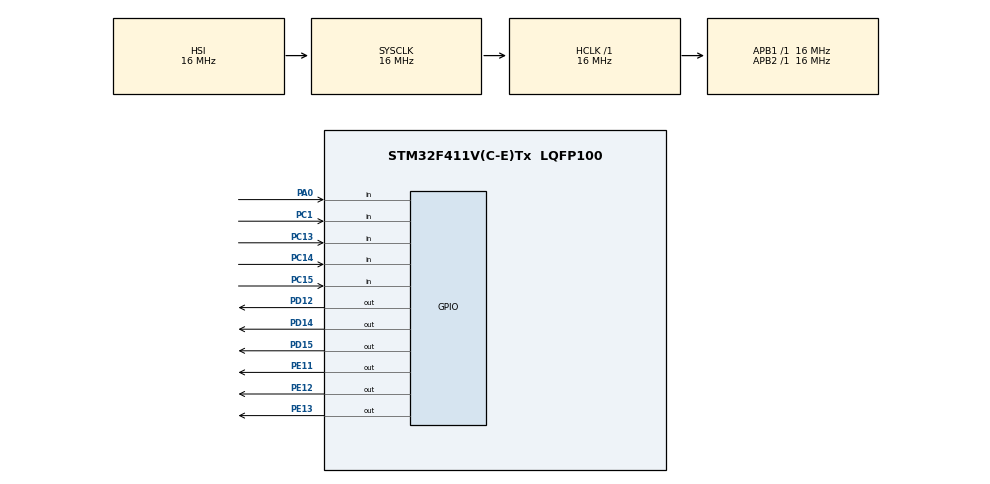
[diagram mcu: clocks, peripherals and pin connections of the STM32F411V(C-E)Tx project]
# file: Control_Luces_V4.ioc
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Mcu.Family=STM32F4
Mcu.Name=STM32F411V(C-E)Tx
Mcu.Package=LQFP100
NVIC.PriorityGroup=NVIC_PRIORITYGROUP_4
NVIC.TIM2_IRQn=true\:0\:0\:false\:true\:true\:1\:true
NVIC.TIM3_IRQn=true\:0\:0\:false\:true\:true\:2\:true
PA0-WKUP.Signal=GPIO_Input
PC1.Signal=GPIO_Input
PC13-ANTI_TAMP.Signal=GPIO_Input
PC14-OSC32_IN.Signal=GPIO_Input
PC15-OSC32_OUT.Signal=GPIO_Input
PD12.Signal=GPIO_Output
PD14.Signal=GPIO_Output
PD15.Signal=GPIO_Output
PE11.Signal=GPIO_Output
PE12.Signal=GPIO_Output
PE13.Signal=GPIO_Output
ProjectManager.HeapSize=0x200
ProjectManager.StackSize=0x400
ProjectManager.TargetToolchain=MDK-ARM V5
RCC.AHBFreq_Value=16000000
RCC.APB1Freq_Value=16000000
RCC.APB2Freq_Value=16000000
RCC.CortexFreq_Value=16000000
RCC.HSE_VALUE=25000000
RCC.HSI_VALUE=16000000
RCC.LSE_VALUE=32768
RCC.SYSCLKFreq_VALUE=16000000
RCC.VCOOutputFreq_Value=192000000
TIM2.Period=500
TIM2.Prescaler=9999
TIM3.Period=4800
TIM3.Prescaler=35999
VP_TIM2_VS_ClockSourceINT.Mode=Internal
VP_TIM3_VS_ClockSourceINT.Mode=Internal
board=custom

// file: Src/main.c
/* USER CODE BEGIN Header */
/**
  ******************************************************************************
  * @file           : main.c
  * @brief          : Main program body
  ******************************************************************************
  ** This notice applies to any and all portions of this file
  * that are not between comment pairs USER CODE BEGIN and
  * USER CODE END. Other portions of this file, whether
  * inserted by the user or by software development tools
  * are owned by their respective copyright owners.
  *
  * COPYRIGHT(c) 2018 STMicroelectronics
  *
  * Redistribution and use in source and binary forms, with or without modification,
  * are permitted provided that the following conditions are met:
  *   1. Redistributions of source code must retain the above copyright notice,
  *      this list of conditions and the following disclaimer.
  *   2. Redistributions in binary form must reproduce the above copyright notice,
  *      this list of conditions and the following disclaimer in the documentation
  *      and/or other materials provided with the distribution.
  *   3. Neither the name of STMicroelectronics nor the names of its contributors
  *      may be used to endorse or promote products derived from this software
  *      without specific prior written permission.
  *
  * THIS SOFTWARE IS PROVIDED BY THE COPYRIGHT HOLDERS AND CONTRIBUTORS "AS IS"
  * AND ANY EXPRESS OR IMPLIED WARRANTIES, INCLUDING, BUT NOT LIMITED TO, THE
  * IMPLIED WARRANTIES OF MERCHANTABILITY AND FITNESS FOR A PARTICULAR PURPOSE ARE
  * DISCLAIMED. IN NO EVENT SHALL THE COPYRIGHT HOLDER OR CONTRIBUTORS BE LIABLE
  * FOR ANY DIRECT, INDIRECT, INCIDENTAL, SPECIAL, EXEMPLARY, OR CONSEQUENTIAL
  * DAMAGES (INCLUDING, BUT NOT LIMITED TO, PROCUREMENT OF SUBSTITUTE GOODS OR
  * SERVICES; LOSS OF USE, DATA, OR PROFITS; OR BUSINESS INTERRUPTION) HOWEVER
  * CAUSED AND ON ANY THEORY OF LIABILITY, WHETHER IN CONTRACT, STRICT LIABILITY,
  * OR TORT (INCLUDING NEGLIGENCE OR OTHERWISE) ARISING IN ANY WAY OUT OF THE USE
  * OF THIS SOFTWARE, EVEN IF ADVISED OF THE POSSIBILITY OF SUCH DAMAGE.
  *
  ******************************************************************************
  */
/* USER CODE END Header */

#include "main.h"

/* USER CODE BEGIN PD */
#define REF_Debounce 300
#define REF_Debounce_2 200
/* USER CODE END PD */

TIM_HandleTypeDef htim2;
TIM_HandleTypeDef htim3;

/* USER CODE BEGIN PV */
//Para modos de funcionamiento
volatile int EnEspera_Funcionando = 0;
volatile int user_mode = 0;

//Para el debounce
extern uint32_t last_time;
extern uint32_t counter_ms;

//Para estado de los pulsadores
int boton_pulsado_modo = 0;
int boton_pulsado_azul = 0;
int boton_pulsado_L1 = 0;
int boton_pulsado_L2 = 0;
int boton_pulsado_L3 = 0;

//Para marcar en que momento de la secuencia de user_mode = 1 se encuentra
volatile int paso = 0;
/* USER CODE END PV */

void SystemClock_Config(void);
static void MX_GPIO_Init(void);
static void MX_TIM2_Init(void);
static void MX_TIM3_Init(void);
static void MX_NVIC_Init(void);

/* USER CODE BEGIN PFP */
void ConfigureSysTick(void);
uint32_t millis(void);
/* USER CODE END PFP */

int main(void)
{

  /* MCU Configuration--------------------------------------------------------*/

  /* Reset of all peripherals, Initializes the Flash interface and the Systick. */
  HAL_Init();

  /* Configure the system clock */
  SystemClock_Config();

  /* Initialize all configured peripherals */
  MX_GPIO_Init();
  MX_TIM2_Init();
  MX_TIM3_Init();

  /* Initialize interrupts */
  MX_NVIC_Init();
  /* USER CODE BEGIN 2 */

	//InicializaciСn de timers
	SysTick_Config(SystemCoreClock/1000); //Para interrupciones cada 1ms
	HAL_TIM_Base_Start_IT(&htim2);
	HAL_TIM_Base_Start_IT(&htim3);
	NVIC_DisableIRQ(TIM3_IRQn);

	//InicializaciСn de variables
	user_mode = 0;
	EnEspera_Funcionando = 0;
	boton_pulsado_modo = 0;
	boton_pulsado_azul = 0;
  boton_pulsado_L1 = 0;
  boton_pulsado_L2 = 0;
  boton_pulsado_L3 = 0;
	paso = 0;

  /* USER CODE END 2 */

  /* Infinite loop */
  while (1)
  {

    /* USER CODE BEGIN 3 */
		if (HAL_GPIO_ReadPin(GPIOA, GPIO_PIN_0) == 1 && boton_pulsado_azul == 0){
			last_time = millis(); //Guarda el valor de millis()
			boton_pulsado_azul = 1;
		}

		if ((HAL_GPIO_ReadPin(GPIOA, GPIO_PIN_0) == 0) && (millis() - last_time) > REF_Debounce && (boton_pulsado_azul == 1)){

			boton_pulsado_azul = 0;

			if (EnEspera_Funcionando == 0){
				HAL_GPIO_WritePin(GPIOE, GPIO_PIN_11, GPIO_PIN_RESET);
				HAL_GPIO_WritePin(GPIOE, GPIO_PIN_12, GPIO_PIN_RESET);
				HAL_GPIO_WritePin(GPIOE, GPIO_PIN_13, GPIO_PIN_RESET);
				EnEspera_Funcionando = 1;
			}

			else if(EnEspera_Funcionando == 1){
				HAL_GPIO_WritePin(GPIOE, GPIO_PIN_11, GPIO_PIN_RESET);
				HAL_GPIO_WritePin(GPIOE, GPIO_PIN_12, GPIO_PIN_RESET);
				HAL_GPIO_WritePin(GPIOE, GPIO_PIN_13, GPIO_PIN_RESET);
				EnEspera_Funcionando = 0;
			}
		}

		if (EnEspera_Funcionando == 0){

			HAL_GPIO_WritePin(GPIOD, GPIO_PIN_14, GPIO_PIN_RESET); //Led rojo se apaga

			//Se pulsa el boton de cambio de modo
			if ((HAL_GPIO_ReadPin(GPIOC, GPIO_PIN_1) == 0) && boton_pulsado_modo == 0){
					last_time = millis(); //Guarda el valor de millis()
					boton_pulsado_modo = 1;
			}

			//Se confirma que se ha pulsado y cambia a modo automАtico
			if((HAL_GPIO_ReadPin(GPIOC, GPIO_PIN_1) == 0) && (millis() - last_time) > REF_Debounce_2 && (boton_pulsado_L1 == 1) && user_mode == 0){
					NVIC_EnableIRQ(TIM3_IRQn);
					HAL_GPIO_WritePin (GPIOD, GPIO_PIN_12, GPIO_PIN_SET); //Led verde encendido
					HAL_GPIO_WritePin(GPIOE, GPIO_PIN_11, GPIO_PIN_RESET);
					HAL_GPIO_WritePin(GPIOE, GPIO_PIN_12, GPIO_PIN_RESET);
					HAL_GPIO_WritePin(GPIOE, GPIO_PIN_13, GPIO_PIN_RESET);
					user_mode = 1;
			}

			//Se confirma que se ha pulsado y cambia a modo manual
			else if((HAL_GPIO_ReadPin(GPIOC, GPIO_PIN_1) == 0) && (millis() - last_time) > REF_Debounce_2 && (boton_pulsado_L1 == 1) && user_mode == 1){
					NVIC_DisableIRQ(TIM3_IRQn);
					HAL_GPIO_WritePin(GPIOE, GPIO_PIN_11, GPIO_PIN_RESET);
					HAL_GPIO_WritePin(GPIOE, GPIO_PIN_12, GPIO_PIN_RESET);
					HAL_GPIO_WritePin(GPIOE, GPIO_PIN_13, GPIO_PIN_RESET);
					user_mode = 0;
			}

			//Usuario en modo manual
			if (user_mode == 0){

				HAL_GPIO_WritePin (GPIOD, GPIO_PIN_12, GPIO_PIN_RESET); //Led verde apagado

				//Si se pulsa el primer pulsador...
				if (HAL_GPIO_ReadPin(GPIOC, GPIO_PIN_15) == 0 && boton_pulsado_L1 == 0){
					last_time = millis(); //Guarda el valor de millis()
					boton_pulsado_L1 = 1;
				}

				if ((HAL_GPIO_ReadPin(GPIOC, GPIO_PIN_15) == 0) && (millis() - last_time) > REF_Debounce && (boton_pulsado_L1 == 1)){
						HAL_GPIO_TogglePin(GPIOE, GPIO_PIN_11);
						boton_pulsado_L1 = 0;
				}

				//Si se pulsa el segundo pulsador...
				if (HAL_GPIO_ReadPin(GPIOC, GPIO_PIN_14) == 0 && boton_pulsado_L2 == 0){
					last_time = millis(); //Guarda el valor de millis()
					boton_pulsado_L2 = 1;
				}

				if ((HAL_GPIO_ReadPin(GPIOC, GPIO_PIN_14) == 0) && (millis() - last_time) > REF_Debounce && (boton_pulsado_L1 == 1)){
						HAL_GPIO_TogglePin(GPIOE, GPIO_PIN_12);
						boton_pulsado_L2 = 0;
				}

				//Si se pulsa el tercer pulsador...
				if (HAL_GPIO_ReadPin(GPIOC, GPIO_PIN_13) == 0 && boton_pulsado_L3 == 0){
					last_time = millis(); //Guarda el valor de millis()
					boton_pulsado_L3 = 1;
				}

				if ((HAL_GPIO_ReadPin(GPIOC, GPIO_PIN_13) == 0) && (millis() - last_time) > REF_Debounce && (boton_pulsado_L3 == 1)){
						HAL_GPIO_TogglePin(GPIOE, GPIO_PIN_13);
						boton_pulsado_L3 = 0;
				}
			}
		}

		else if (EnEspera_Funcionando == 1){ //Modo standby
			HAL_GPIO_WritePin(GPIOD, GPIO_PIN_14, GPIO_PIN_SET); //Led rojo
			HAL_GPIO_WritePin (GPIOD, GPIO_PIN_12, GPIO_PIN_RESET); //Led verde
			HAL_GPIO_TogglePin(GPIOE, GPIO_PIN_11);
			HAL_GPIO_TogglePin(GPIOE, GPIO_PIN_12);
			HAL_GPIO_TogglePin(GPIOE, GPIO_PIN_13);
			HAL_Delay(200);
		}
  }
  /* USER CODE END 3 */
}

void SystemClock_Config(void)
{
  RCC_OscInitTypeDef RCC_OscInitStruct = {0};
  RCC_ClkInitTypeDef RCC_ClkInitStruct = {0};

  /**Configure the main internal regulator output voltage
  */
  __HAL_RCC_PWR_CLK_ENABLE();
  __HAL_PWR_VOLTAGESCALING_CONFIG(PWR_REGULATOR_VOLTAGE_SCALE1);
  /**Initializes the CPU, AHB and APB busses clocks
  */
  RCC_OscInitStruct.OscillatorType = RCC_OSCILLATORTYPE_HSI;
  RCC_OscInitStruct.HSIState = RCC_HSI_ON;
  RCC_OscInitStruct.HSICalibrationValue = RCC_HSICALIBRATION_DEFAULT;
  RCC_OscInitStruct.PLL.PLLState = RCC_PLL_NONE;
  if (HAL_RCC_OscConfig(&RCC_OscInitStruct) != HAL_OK)
  {
    Error_Handler();
  }
  /**Initializes the CPU, AHB and APB busses clocks
  */
  RCC_ClkInitStruct.ClockType = RCC_CLOCKTYPE_HCLK|RCC_CLOCKTYPE_SYSCLK
                              |RCC_CLOCKTYPE_PCLK1|RCC_CLOCKTYPE_PCLK2;
  RCC_ClkInitStruct.SYSCLKSource = RCC_SYSCLKSOURCE_HSI;
  RCC_ClkInitStruct.AHBCLKDivider = RCC_SYSCLK_DIV1;
  RCC_ClkInitStruct.APB1CLKDivider = RCC_HCLK_DIV1;
  RCC_ClkInitStruct.APB2CLKDivider = RCC_HCLK_DIV1;

  if (HAL_RCC_ClockConfig(&RCC_ClkInitStruct, FLASH_LATENCY_0) != HAL_OK)
  {
    Error_Handler();
  }
}

/**
  * @brief NVIC Configuration.
  * @retval None
  */
static void MX_NVIC_Init(void)
{
  /* TIM2_IRQn interrupt configuration */
  HAL_NVIC_SetPriority(TIM2_IRQn, 0, 0);
  HAL_NVIC_EnableIRQ(TIM2_IRQn);
  /* TIM3_IRQn interrupt configuration */
  HAL_NVIC_SetPriority(TIM3_IRQn, 0, 0);
  HAL_NVIC_EnableIRQ(TIM3_IRQn);
}

static void MX_TIM2_Init(void)
{

  TIM_ClockConfigTypeDef sClockSourceConfig = {0};
  TIM_MasterConfigTypeDef sMasterConfig = {0};

  htim2.Instance = TIM2;
  htim2.Init.Prescaler = 9999;
  htim2.Init.CounterMode = TIM_COUNTERMODE_UP;
  htim2.Init.Period = 500;
  htim2.Init.ClockDivision = TIM_CLOCKDIVISION_DIV1;
  if (HAL_TIM_Base_Init(&htim2) != HAL_OK)
  {
    Error_Handler();
  }
  sClockSourceConfig.ClockSource = TIM_CLOCKSOURCE_INTERNAL;
  if (HAL_TIM_ConfigClockSource(&htim2, &sClockSourceConfig) != HAL_OK)
  {
    Error_Handler();
  }
  sMasterConfig.MasterOutputTrigger = TIM_TRGO_RESET;
  sMasterConfig.MasterSlaveMode = TIM_MASTERSLAVEMODE_DISABLE;
  if (HAL_TIMEx_MasterConfigSynchronization(&htim2, &sMasterConfig) != HAL_OK)
  {
    Error_Handler();
  }

}

static void MX_TIM3_Init(void)
{

  TIM_ClockConfigTypeDef sClockSourceConfig = {0};
  TIM_MasterConfigTypeDef sMasterConfig = {0};

  htim3.Instance = TIM3;
  htim3.Init.Prescaler = 35999;
  htim3.Init.CounterMode = TIM_COUNTERMODE_UP;
	htim3.Init.Period = 1600;
  htim3.Init.ClockDivision = TIM_CLOCKDIVISION_DIV1;
  if (HAL_TIM_Base_Init(&htim3) != HAL_OK)
  {
    Error_Handler();
  }
  sClockSourceConfig.ClockSource = TIM_CLOCKSOURCE_INTERNAL;
  if (HAL_TIM_ConfigClockSource(&htim3, &sClockSourceConfig) != HAL_OK)
  {
    Error_Handler();
  }
  sMasterConfig.MasterOutputTrigger = TIM_TRGO_RESET;
  sMasterConfig.MasterSlaveMode = TIM_MASTERSLAVEMODE_DISABLE;
  if (HAL_TIMEx_MasterConfigSynchronization(&htim3, &sMasterConfig) != HAL_OK)
  {
    Error_Handler();
  }

}

static void MX_GPIO_Init(void)
{
  GPIO_InitTypeDef GPIO_InitStruct = {0};

  /* GPIO Ports Clock Enable */
  __HAL_RCC_GPIOC_CLK_ENABLE();
  __HAL_RCC_GPIOA_CLK_ENABLE();
  __HAL_RCC_GPIOE_CLK_ENABLE();
  __HAL_RCC_GPIOD_CLK_ENABLE();

  /*Configure GPIO pin Output Level */
  HAL_GPIO_WritePin(GPIOE, GPIO_PIN_11|GPIO_PIN_12|GPIO_PIN_13, GPIO_PIN_RESET);

  /*Configure GPIO pin Output Level */
  HAL_GPIO_WritePin(GPIOD, GPIO_PIN_12|GPIO_PIN_14|GPIO_PIN_15, GPIO_PIN_RESET);

  /*Configure GPIO pins : PC13 PC14 PC15 PC1 */
  GPIO_InitStruct.Pin = GPIO_PIN_13|GPIO_PIN_14|GPIO_PIN_15|GPIO_PIN_1;
  GPIO_InitStruct.Mode = GPIO_MODE_INPUT;
  GPIO_InitStruct.Pull = GPIO_NOPULL;
  HAL_GPIO_Init(GPIOC, &GPIO_InitStruct);

  /*Configure GPIO pin : PA0 */
  GPIO_InitStruct.Pin = GPIO_PIN_0;
  GPIO_InitStruct.Mode = GPIO_MODE_INPUT;
  GPIO_InitStruct.Pull = GPIO_NOPULL;
  HAL_GPIO_Init(GPIOA, &GPIO_InitStruct);

  /*Configure GPIO pins : PE11 PE12 PE13 */
  GPIO_InitStruct.Pin = GPIO_PIN_11|GPIO_PIN_12|GPIO_PIN_13;
  GPIO_InitStruct.Mode = GPIO_MODE_OUTPUT_PP;
  GPIO_InitStruct.Pull = GPIO_NOPULL;
  GPIO_InitStruct.Speed = GPIO_SPEED_FREQ_LOW;
  HAL_GPIO_Init(GPIOE, &GPIO_InitStruct);

  /*Configure GPIO pins : PD12 PD14 PD15 */
  GPIO_InitStruct.Pin = GPIO_PIN_12|GPIO_PIN_14;
  GPIO_InitStruct.Mode = GPIO_MODE_OUTPUT_PP;
  GPIO_InitStruct.Pull = GPIO_NOPULL;
  GPIO_InitStruct.Speed = GPIO_SPEED_FREQ_LOW;
  HAL_GPIO_Init(GPIOD, &GPIO_InitStruct);

}

/* USER CODE BEGIN 4 */
void HAL_TIM_PeriodElapsedCallback(TIM_HandleTypeDef *htim)
{
	if (htim->Instance == TIM2){	//Si la fuente es TIM2

	}

	else if (htim->Instance == TIM3){	//Si la fuente es TIM3

		if (user_mode == 1){

			if (paso == 0){
				HAL_GPIO_TogglePin(GPIOE, GPIO_PIN_11);
				paso++;
			}

			else if (paso == 1){
				HAL_GPIO_TogglePin(GPIOE, GPIO_PIN_12);
				paso++;
			}

			else if (paso == 2){
				HAL_GPIO_TogglePin(GPIOE, GPIO_PIN_11);
				HAL_GPIO_TogglePin(GPIOE, GPIO_PIN_13);
				paso++;
			}

			else if (paso == 3){
				HAL_GPIO_TogglePin(GPIOE, GPIO_PIN_11);
				HAL_GPIO_TogglePin(GPIOE, GPIO_PIN_12);
				paso++;
			}

			else if (paso == 4){
				HAL_GPIO_TogglePin(GPIOE, GPIO_PIN_11);
				HAL_GPIO_TogglePin(GPIOE, GPIO_PIN_12);
				HAL_GPIO_TogglePin(GPIOE, GPIO_PIN_13);
				paso = 0;
			}
		}
	}
}

uint32_t millis() {
  return counter_ms;
}
/* USER CODE END 4 */

void Error_Handler(void)
{
}

/************************ (C) COPYRIGHT STMicroelectronics *****END OF FILE****/
